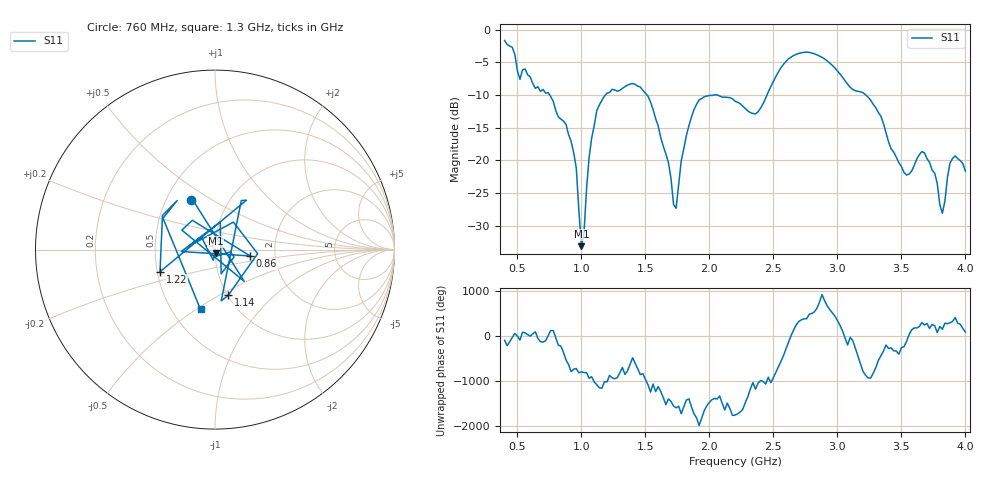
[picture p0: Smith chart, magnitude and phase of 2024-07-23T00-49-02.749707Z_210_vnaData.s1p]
!Created with skrf (http://scikit-rf.org).
# Hz S RI R 50.0
!freq ReS11 ImS11
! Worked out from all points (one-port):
!   181 points, 400 MHz to 4 GHz, reference 50 ohm
!   lowest |S11| = -33.2 dB at 1 GHz (marker M1), VSWR 1.04, Z = 50.3 - j2.19 ohm
!   |S11| at or under -10 dB: 751.8 MHz to 1.188 GHz (436.1 MHz wide, 45 % of centre); 1.512 GHz to 2.039 GHz (527.3 MHz wide, 29.7 % of centre); 3.222 GHz to end of sweep (the widest 3 of 4)
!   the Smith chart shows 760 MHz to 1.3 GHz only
!   S11 on the Smith chart (normalised r, x): 760 MHz: 0.67, +0.41; 860 MHz: 1.48, -0.11; 1.14 GHz: 1.01, -0.55; 1.22 GHz: 0.52, -0.14; 1.3 GHz: 0.69, -0.52
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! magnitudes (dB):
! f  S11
! 400 MHz  -1.7
! 520 MHz  -7.6
! 760 MHz  -10.2
! 860 MHz  -14.0
! 960 MHz  -21.2
! 1 GHz  -33.2
! 1.02 GHz  -31.3
! 1.06 GHz  -19.6
! 1.14 GHz  -11.5
! 1.22 GHz  -9.6
! 1.3 GHz  -9.3
! 1.52 GHz  -10.2
! 1.68 GHz  -20.4
! 1.72 GHz  -26.8
! 1.76 GHz  -23.8
! 1.82 GHz  -16.2
! 1.92 GHz  -10.8
! 2.2 GHz  -10.9
! 2.36 GHz  -12.9
! 2.66 GHz  -3.9
! 3.1 GHz  -8.8
! 3.3 GHz  -12.0
! 3.56 GHz  -22.1
! 3.68 GHz  -18.9
! 3.76 GHz  -22.0
! 3.82 GHz  -28.1
! 3.88 GHz  -20.4
! 4 GHz  -21.7
